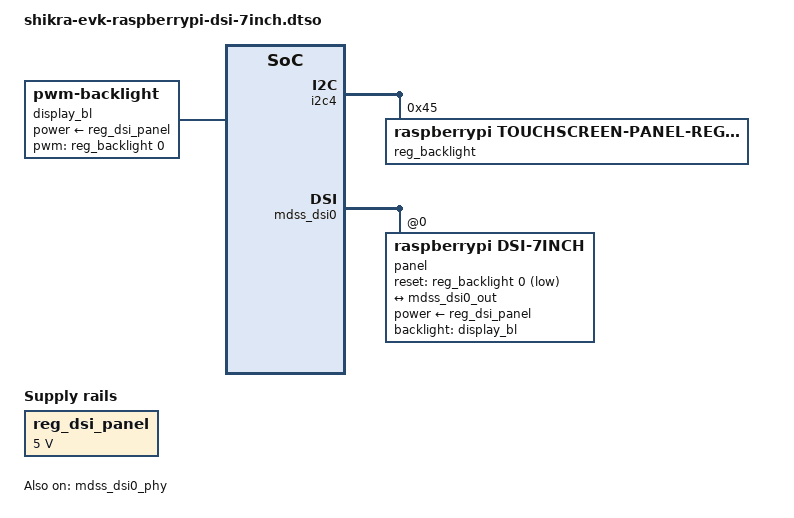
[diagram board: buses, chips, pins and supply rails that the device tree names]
// SPDX-License-Identifier: BSD-3-Clause
/*
 * Copyright (c) Qualcomm Technologies, Inc. and/or its subsidiaries.
 */
/dts-v1/;
/plugin/;

#include <dt-bindings/gpio/gpio.h>

&{/} {
	display_bl: backlight {
		compatible = "pwm-backlight";
		power-supply = <&reg_dsi_panel>;
		pwms = <&reg_backlight 0 255 0>;
	};

	reg_dsi_panel: regulator-dsi-panel {
		compatible = "regulator-fixed";
		regulator-name = "rpi-dsi-panel";
		regulator-min-microvolt = <5000000>;
		regulator-max-microvolt = <5000000>;
	};
};

&lt9611uxd {
	status = "disabled";
};

&{/hdmi-connector} {
	status = "disabled";
};

&i2c4 {
	#address-cells = <1>;
	#size-cells = <0>;

	reg_backlight: reg_backlight@45 {
		compatible = "raspberrypi,touchscreen-panel-regulator-v2";
		reg = <0x45>;

		gpio-controller;
		#gpio-cells = <2>;
		#pwm-cells = <3>;
	};
};

&mdss_dsi0 {
	vdda-supply = <&pm4125_l5>;

	status = "okay";

	#address-cells = <1>;
	#size-cells = <0>;

	panel@0 {
		compatible = "raspberrypi,dsi-7inch";
		reg = <0>;

		reset-gpios = <&reg_backlight 0 GPIO_ACTIVE_LOW>;
		power-supply = <&reg_dsi_panel>;
		backlight = <&display_bl>;

		port {
			panel0_in: endpoint {
				remote-endpoint = <&mdss_dsi0_out>;
			};
		};
	};
};

&mdss_dsi0_out {
	remote-endpoint = <&panel0_in>;
	data-lanes = <0 1>;
};

&mdss_dsi0_phy {
	status = "okay";
};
